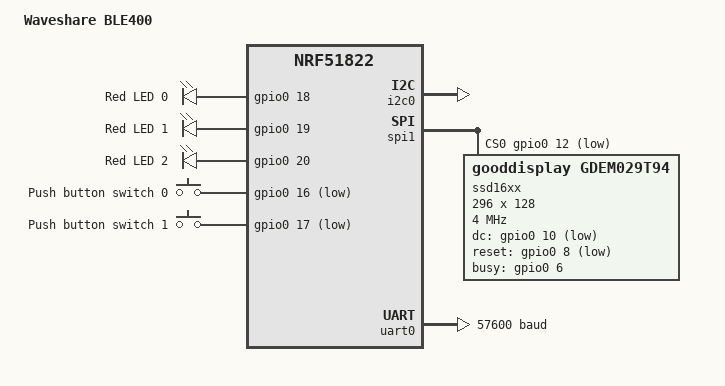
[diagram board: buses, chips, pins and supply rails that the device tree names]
/*
 * Copyright (c) 2018 Roman Tataurov <diytronic@yandex.ru>
 *
 * SPDX-License-Identifier: Apache-2.0
 */

/dts-v1/;
#include <nordic/nrf51822_qfac.dtsi>
#include "controller-pinctrl.dtsi"

/ {
	model = "Waveshare BLE400";
	compatible = "waveshare,BLE400";

	chosen {
		zephyr,sram = &sram0;
		zephyr,flash = &flash0;
		zephyr,display = &ssd16xx;
	};

	/* These aliases are provided for compatibility with samples */
	aliases {
		led0 = &led0;
		led1 = &led1;
		led2 = &led2;
		sw0 = &button0;
		sw1 = &button1;
		watchdog0 = &wdt0;
	};

	leds {
		compatible = "gpio-leds";
		led0: led_0 {
			gpios = <&gpio0 18 0>;
			label = "Red LED 0";
		};
		led1: led_1 {
			gpios = <&gpio0 19 0>;
			label = "Red LED 1";
		};
		led2: led_2 {
			gpios = <&gpio0 20 0>;
			label = "Red LED 2";
		};
	};

	buttons {
		/* Push button switch 0 KEY1 */
		compatible = "gpio-keys";
		button0: button_0 {
			gpios = <&gpio0 16 (GPIO_PULL_UP | GPIO_ACTIVE_LOW)>;
			label = "Push button switch 0";
		};
		/* Push button switch 1 KEY2 */
		button1: button_1 {
			gpios = <&gpio0 17 (GPIO_PULL_UP | GPIO_ACTIVE_LOW)>;
			label = "Push button switch 1";
		};
	};
	barrot {
		compatible = "barrot_serial";
		btaddr = [82 72 95 83 15 00];

		modbus0 {
			compatible = "zephyr,modbus-serial";
			status = "okay";
	};

	};
};

&gpiote {
	status = "okay";
};

&gpio0 {
	status = "okay";
};

&i2c0 {
	status = "okay";
	/* smba-pin = <2>; */
	pinctrl-0 = <&i2c0_default>;
	pinctrl-1 = <&i2c0_sleep>;
	pinctrl-names = "default", "sleep";
};

&spi1 {
	compatible = "nordic,nrf-spi";
	status = "okay";
	cs-gpios = <&gpio0 12 GPIO_ACTIVE_LOW>;
	pinctrl-0 = <&spi1_default>;
	pinctrl-1 = <&spi1_sleep>;
	pinctrl-names = "default", "sleep";
	
	ssd16xx: ssd16xxfb@0 {
		compatible = "gooddisplay,GDEM029T94", "solomon,ssd1680";
		spi-max-frequency = <4000000>;
		reg = <0>;
		width = <296>;
		height = <128>;
		dc-gpios = <&gpio0 10 GPIO_ACTIVE_LOW>;
		reset-gpios = <&gpio0 8 GPIO_ACTIVE_LOW>;
		busy-gpios = <&gpio0 6 GPIO_ACTIVE_HIGH>;
		
		cntrl1-data = [00 80];
		otp-selection-ctl = [00 00 00 00 00 40 00 00 00 00];
		
		full {
			vcom = <0x36>;
			border-waveform = <0x80>;
			gdv = [17];
			sdv = [41 B0 32];
			lut = [
				80 66 00 00 00 00 00 00
				40 00 00 00 10 66 00 00
				00 00 00 00 20 00 00 00
				80 66 00 00 00 00 00 00
				40 00 00 00 10 66 00 00
				00 00 00 00 20 00 00 00
				00 00 00 00 00 00 00 00
				00 00 00 00 14 08 00 00
				00 00 01 0a 0a 00 0a 0a
				00 01 00 00 00 00 00 00
				00 00 00 00 00 00 00 00
				00 00 00 00 00 00 00 00
				00 00 00 00 00 00 00 00
				00 00 00 00 00 00 00 00
				00 00 00 00 14 08 00 01
				00 00 01 00 00 00 00 00
				00 01 00 00 00 00 00 00
				00 00 00 00 00 00 00 00
				44 44 44 44 44 44 00 00
				00
			];
		};
		
		partial {
			vcom = <0x36>;
			border-waveform = <0x80>;
			gdv = [17];
			sdv = [41 B0 32];

			lut = [
				00 40 00 00 00 00 00 00
				00 00 00 00 80 80 00 00
				00 00 00 00 00 00 00 00
				40 40 00 00 00 00 00 00
				00 00 00 00 00 80 00 00
				00 00 00 00 00 00 00 00
				00 00 00 00 00 00 00 00
				00 00 00 00 0a 00 00 00
				00 00 01 01 00 00 00 00
				00 00 01 00 00 00 00 00
				00 00 00 00 00 00 00 00
				00 00 00 00 00 00 00 00
				00 00 00 00 00 00 00 00
				00 00 00 00 00 00 00 00
				00 00 00 00 00 00 00 00
				00 00 00 00 00 00 00 00
				00 00 00 00 00 00 00 00
				00 00 00 00 00 00 00 00
				22 22 22 22 22 22 00 00
				00
			];
		};
		
	};
};

&uart0 {
	current-speed = <57600>;
	status = "okay";
	pinctrl-0 = <&uart0_default>;
	pinctrl-1 = <&uart0_sleep>;
	pinctrl-names = "default", "sleep";
};
